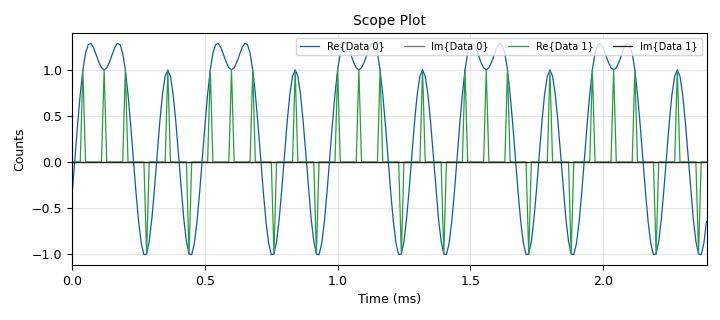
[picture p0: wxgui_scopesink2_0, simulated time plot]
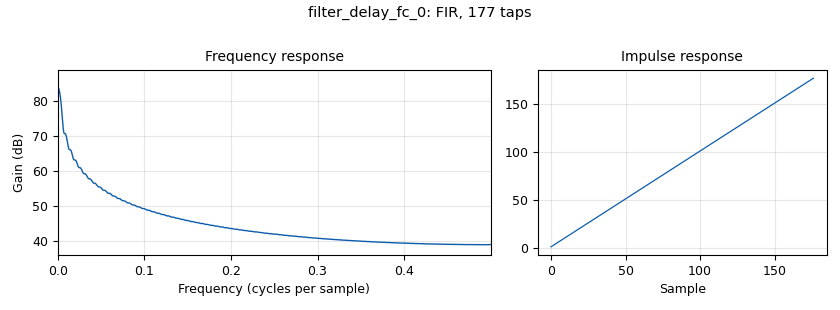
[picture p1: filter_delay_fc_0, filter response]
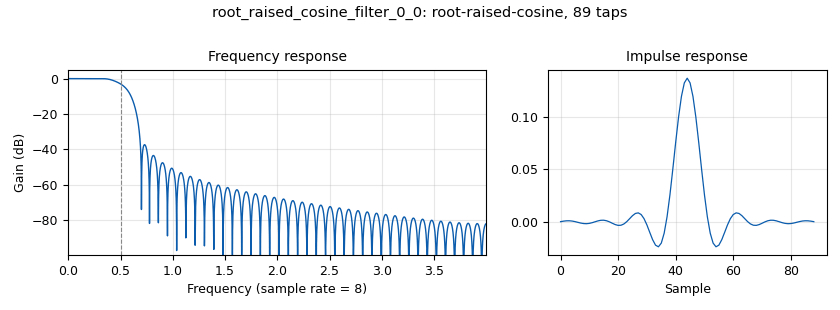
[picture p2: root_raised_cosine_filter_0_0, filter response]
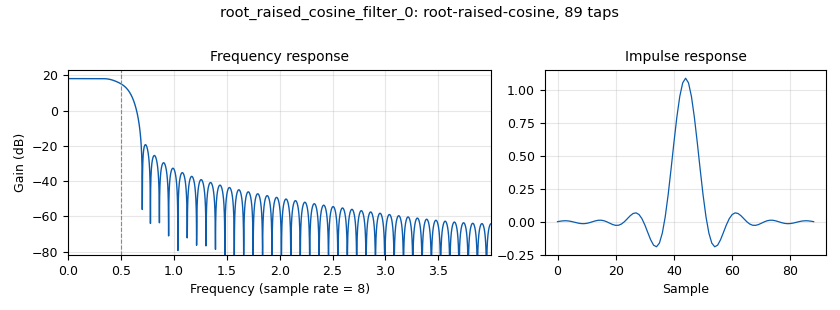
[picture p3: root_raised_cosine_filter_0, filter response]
<?xml version='1.0' encoding='utf-8'?>
<?grc format='1' created='3.7.7'?>
<flow_graph>
<block>
<key>variable</key>
<param><key>id</key><value>sps</value></param>
<param><key>value</key><value>8</value></param>
</block>
<block>
<key>variable</key>
<param><key>id</key><value>samp_rate</value></param>
<param><key>value</key><value>100E3</value></param>
</block>
<block>
<key>blocks_vector_source_x</key>
<param><key>id</key><value>blocks_vector_source_x_0</value></param>
<param><key>type</key><value>complex</value></param>
<param><key>vector</key><value>(1,1,-1,1,-1,1)</value></param>
<param><key>repeat</key><value>True</value></param>
</block>
<block>
<key>blocks_float_to_complex</key>
<param><key>id</key><value>blocks_float_to_complex_0</value></param>
</block>
<block>
<key>blocks_complex_to_real</key>
<param><key>id</key><value>blocks_complex_to_real_0</value></param>
</block>
<block>
<key>filter_delay_fc</key>
<param><key>id</key><value>filter_delay_fc_0</value></param>
<param><key>taps</key><value>range(1,2*11*sps+2)</value></param>
</block>
<block>
<key>interp_fir_filter_xxx</key>
<param><key>id</key><value>interp_fir_filter_xxx_1</value></param>
<param><key>type</key><value>ccc</value></param>
<param><key>interp</key><value>sps</value></param>
<param><key>taps</key><value>1</value></param>
</block>
<block>
<key>blocks_complex_to_float</key>
<param><key>id</key><value>blocks_complex_to_float_0</value></param>
</block>
<block>
<key>root_raised_cosine_filter</key>
<param><key>id</key><value>root_raised_cosine_filter_0_0</value></param>
<param><key>type</key><value>fir_filter_ccf</value></param>
<param><key>decim</key><value>1</value></param>
<param><key>gain</key><value>1</value></param>
<param><key>samp_rate</key><value>sps</value></param>
<param><key>sym_rate</key><value>1</value></param>
<param><key>alpha</key><value>.35</value></param>
<param><key>ntaps</key><value>11*sps</value></param>
</block>
<block>
<key>root_raised_cosine_filter</key>
<param><key>id</key><value>root_raised_cosine_filter_0</value></param>
<param><key>type</key><value>fir_filter_ccf</value></param>
<param><key>decim</key><value>1</value></param>
<param><key>gain</key><value>sps</value></param>
<param><key>samp_rate</key><value>sps</value></param>
<param><key>sym_rate</key><value>1</value></param>
<param><key>alpha</key><value>0.35</value></param>
<param><key>ntaps</key><value>11*sps</value></param>
</block>
<block>
<key>blocks_throttle</key>
<param><key>id</key><value>blocks_throttle_0</value></param>
<param><key>type</key><value>complex</value></param>
<param><key>samples_per_second</key><value>samp_rate</value></param>
</block>
<block>
<key>wxgui_scopesink2</key>
<param><key>id</key><value>wxgui_scopesink2_0</value></param>
<param><key>type</key><value>complex</value></param>
<param><key>title</key><value>Scope Plot</value></param>
<param><key>samp_rate</key><value>samp_rate</value></param>
<param><key>v_scale</key><value>0</value></param>
<param><key>v_offset</key><value>0</value></param>
<param><key>t_scale</key><value>0</value></param>
<param><key>ac_couple</key><value>False</value></param>
<param><key>xy_mode</key><value>False</value></param>
<param><key>num_inputs</key><value>2</value></param>
<param><key>trig_mode</key><value>wxgui.TRIG_MODE_AUTO</value></param>
<param><key>y_axis_label</key><value>Counts</value></param>
</block>
<block>
<key>qtgui_const_sink_x</key>
<param><key>id</key><value>qtgui_const_sink_x_0</value></param>
<param><key>_enabled</key><value>False</value></param>
<param><key>type</key><value>complex</value></param>
<param><key>size</key><value>1024</value></param>
<param><key>nconnections</key><value>2</value></param>
</block>
<block>
<key>options</key>
<param><key>id</key><value>top_block</value></param>
<param><key>generate_options</key><value>wx_gui</value></param>
<param><key>category</key><value>Custom</value></param>
</block>
<connection><source_block_id>blocks_float_to_complex_0</source_block_id><sink_block_id>qtgui_const_sink_x_0</sink_block_id><source_key>0</source_key><sink_key>1</sink_key></connection>
<connection><source_block_id>root_raised_cosine_filter_0_0</source_block_id><sink_block_id>qtgui_const_sink_x_0</sink_block_id><source_key>0</source_key><sink_key>0</sink_key></connection>
<connection><source_block_id>root_raised_cosine_filter_0_0</source_block_id><sink_block_id>wxgui_scopesink2_0</sink_block_id><source_key>0</source_key><sink_key>0</sink_key></connection>
<connection><source_block_id>blocks_float_to_complex_0</source_block_id><sink_block_id>wxgui_scopesink2_0</sink_block_id><source_key>0</source_key><sink_key>1</sink_key></connection>
<connection><source_block_id>blocks_complex_to_real_0</source_block_id><sink_block_id>blocks_float_to_complex_0</sink_block_id><source_key>0</source_key><sink_key>0</sink_key></connection>
<connection><source_block_id>filter_delay_fc_0</source_block_id><sink_block_id>blocks_complex_to_real_0</sink_block_id><source_key>0</source_key><sink_key>0</sink_key></connection>
<connection><source_block_id>blocks_throttle_0</source_block_id><sink_block_id>root_raised_cosine_filter_0</sink_block_id><source_key>0</source_key><sink_key>0</sink_key></connection>
<connection><source_block_id>blocks_throttle_0</source_block_id><sink_block_id>blocks_complex_to_float_0</sink_block_id><source_key>0</source_key><sink_key>0</sink_key></connection>
<connection><source_block_id>blocks_complex_to_float_0</source_block_id><sink_block_id>filter_delay_fc_0</sink_block_id><source_key>0</source_key><sink_key>0</sink_key></connection>
<connection><source_block_id>interp_fir_filter_xxx_1</source_block_id><sink_block_id>blocks_throttle_0</sink_block_id><source_key>0</source_key><sink_key>0</sink_key></connection>
<connection><source_block_id>blocks_vector_source_x_0</source_block_id><sink_block_id>interp_fir_filter_xxx_1</sink_block_id><source_key>0</source_key><sink_key>0</sink_key></connection>
<connection><source_block_id>root_raised_cosine_filter_0</source_block_id><sink_block_id>root_raised_cosine_filter_0_0</sink_block_id><source_key>0</source_key><sink_key>0</sink_key></connection>
</flow_graph>
